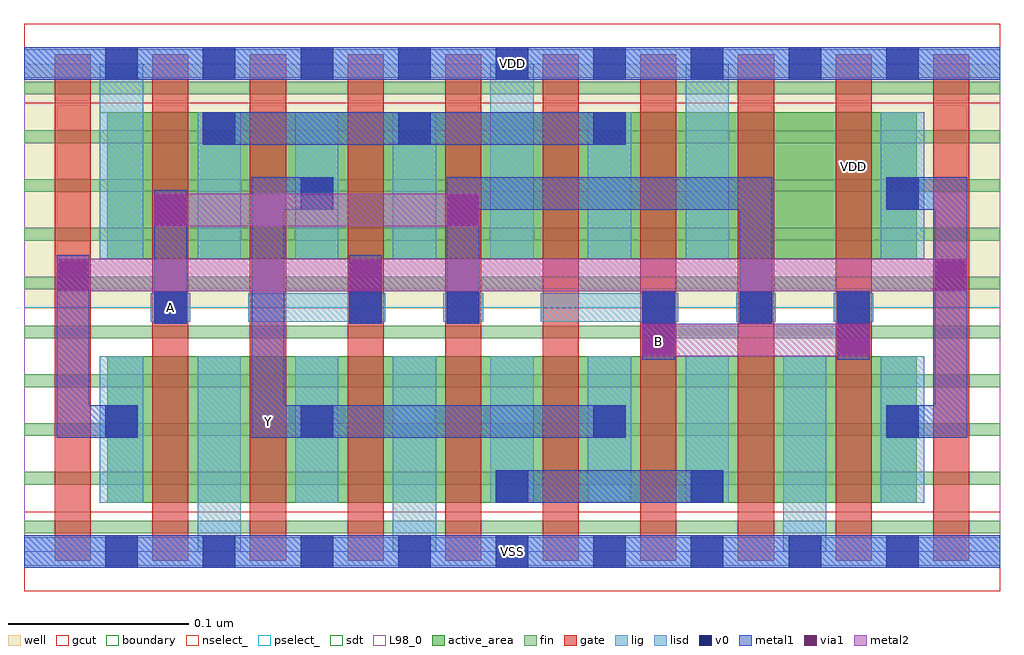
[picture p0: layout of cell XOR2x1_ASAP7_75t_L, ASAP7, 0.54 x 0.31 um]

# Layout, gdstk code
import gdstk
lib = gdstk.Library(unit=1e-6, precision=2.5e-10)
def R(c, l, rs):  # rectangles x0, y0, x1, y1
    for r in rs: c.add(gdstk.rectangle(r[:2], r[2:], *l))
def A(c, l, x, y, w, h, nx, ny, dx, dy):  # array of equal rectangles
    R(c, l, [(x+i*dx, y+j*dy, x+i*dx+w, y+j*dy+h) for i in range(nx) for j in range(ny)])
def P(c, l, *ps):  # polygons
    for p in ps: c.add(gdstk.Polygon(p, *l))
well = (1, 0)
fin = (2, 0)
gate = (7, 0)
gcut = (10, 0)
active_area = (11, 0)
nselect_ = (12, 0)
pselect_ = (13, 0)
lig = (16, 0)
lisd = (17, 0)
v0 = (18, 0)
metal1 = (19, 0)
metal2 = (20, 0)
via1 = (21, 0)
sdt = (88, 0)
L98_0 = (98, 0)
boundary = (100, 0)

xor2x1_asap7_75t_l = lib.new_cell('XOR2x1_ASAP7_75t_L')
R(xor2x1_asap7_75t_l, well, [(0,0.135,0.54,0.27)])
A(xor2x1_asap7_75t_l, fin, 0, 0.01, 0.54, 0.007, 1, 10, 0, 0.027)
A(xor2x1_asap7_75t_l, gate, 0.017, -0.005, 0.02, 0.28, 10, 1, 0.054, 0)
R(xor2x1_asap7_75t_l, gcut, [(0,-0.022,0.54,0.022), (0,0.248,0.54,0.292)])
R(xor2x1_asap7_75t_l, active_area, [(0.046,0.027,0.494,0.108), (0.046,0.162,0.494,0.243)])
R(xor2x1_asap7_75t_l, nselect_, [(0,0,0.54,0.135)])
R(xor2x1_asap7_75t_l, pselect_, [(0,0.135,0.54,0.27)])
A(xor2x1_asap7_75t_l, lig, 0.07, 0.127, 0.022, 0.016, 3, 1, 0.162, 0)
R(xor2x1_asap7_75t_l, lig, [(0,-0.008,0.54,0.008), (0.124,0.127,0.2,0.143), (0.286,0.127,0.362,0.143), (0.448,0.127,0.47,0.143), (0,0.262,0.54,0.278)])
A(xor2x1_asap7_75t_l, lisd, 0.042, 0.027, 0.024, 0.081, 3, 1, 0.108, 0)
A(xor2x1_asap7_75t_l, lisd, 0.096, 0.162, 0.024, 0.081, 3, 1, 0.054, 0)
R(xor2x1_asap7_75t_l, lisd, [(0.096,0,0.12,0.108), (0.204,0,0.228,0.108), (0.42,0,0.444,0.108), (0.312,0.027,0.336,0.108), (0.366,0.027,0.39,0.108), (0.474,0.027,0.498,0.108), (0.042,0.162,0.066,0.27), (0.258,0.162,0.282,0.27), (0.312,0.162,0.336,0.243), (0.366,0.162,0.39,0.27), (0.474,0.162,0.498,0.243)])
A(xor2x1_asap7_75t_l, v0, 0.045, -0.009, 0.018, 0.018, 9, 2, 0.054, 0.27)
A(xor2x1_asap7_75t_l, v0, 0.153, 0.063, 0.018, 0.018, 3, 1, 0.162, 0)
A(xor2x1_asap7_75t_l, v0, 0.342, 0.126, 0.018, 0.018, 3, 1, 0.054, 0)
A(xor2x1_asap7_75t_l, v0, 0.099, 0.225, 0.018, 0.018, 3, 1, 0.108, 0)
R(xor2x1_asap7_75t_l, v0, [(0.261,0.027,0.279,0.045), (0.369,0.027,0.387,0.045), (0.045,0.063,0.063,0.081), (0.072,0.126,0.09,0.144), (0.18,0.126,0.198,0.144), (0.234,0.126,0.252,0.144), (0.153,0.189,0.171,0.207), (0.477,0.189,0.495,0.207)])
R(xor2x1_asap7_75t_l, metal1, [(0,-0.009,0.54,0.009), (0.261,0.027,0.387,0.045), (0.342,0.106,0.36,0.144), (0.45,0.106,0.468,0.144), (0.072,0.126,0.09,0.2), (0.18,0.126,0.198,0.164), (0.099,0.225,0.333,0.243), (0,0.261,0.54,0.279)])
P(xor2x1_asap7_75t_l, metal1, [(0.063,0.081),(0.036,0.081),(0.036,0.164),(0.018,0.164),(0.018,0.063),(0.063,0.063)],
  [(0.477,0.207),(0.477,0.189),(0.504,0.189),(0.504,0.081),(0.477,0.081),(0.477,0.063),(0.522,0.063),(0.522,0.207)],
  [(0.252,0.189),(0.396,0.189),(0.396,0.126),(0.414,0.126),(0.414,0.207),(0.234,0.207),(0.234,0.126),(0.252,0.126)],
  [(0.333,0.081),(0.144,0.081),(0.144,0.189),(0.171,0.189),(0.171,0.207),(0.126,0.207),(0.126,0.063),(0.333,0.063)])
R(xor2x1_asap7_75t_l, metal2, [(0.342,0.108,0.468,0.126), (0.018,0.144,0.522,0.162), (0.072,0.18,0.252,0.198)])
R(xor2x1_asap7_75t_l, via1, [(0.342,0.108,0.36,0.126), (0.45,0.108,0.468,0.126), (0.018,0.144,0.036,0.162), (0.18,0.144,0.198,0.162), (0.504,0.144,0.522,0.162), (0.072,0.18,0.09,0.198), (0.234,0.18,0.252,0.198)])
A(xor2x1_asap7_75t_l, sdt, 0.042, 0.027, 0.024, 0.081, 9, 1, 0.054, 0)
A(xor2x1_asap7_75t_l, sdt, 0.042, 0.162, 0.024, 0.081, 7, 1, 0.054, 0)
R(xor2x1_asap7_75t_l, sdt, [(0.474,0.162,0.498,0.243)])
R(xor2x1_asap7_75t_l, L98_0, [(0,0,0.54,0.27)])
R(xor2x1_asap7_75t_l, boundary, [(0,0,0.54,0.27)])
xor2x1_asap7_75t_l.add(gdstk.Label('Y', (0.135,0.072), layer=19, texttype=251))
xor2x1_asap7_75t_l.add(gdstk.Label('B', (0.351,0.116), layer=19, texttype=251))
xor2x1_asap7_75t_l.add(gdstk.Label('A', (0.081,0.135), layer=19, texttype=251))
xor2x1_asap7_75t_l.add(gdstk.Label('VSS', (0.27,0), layer=19, texttype=251))
xor2x1_asap7_75t_l.add(gdstk.Label('VDD', (0.27,0.27), layer=19, texttype=251))
xor2x1_asap7_75t_l.add(gdstk.Label('VDD', (0.459,0.213), layer=1, texttype=251))
xor2x1_asap7_75t_l.add(gdstk.Label('VSS', (0.621,0.213), layer=3, texttype=251))

lib.write_gds('XOR2x1_ASAP7_75t_L.gds')
